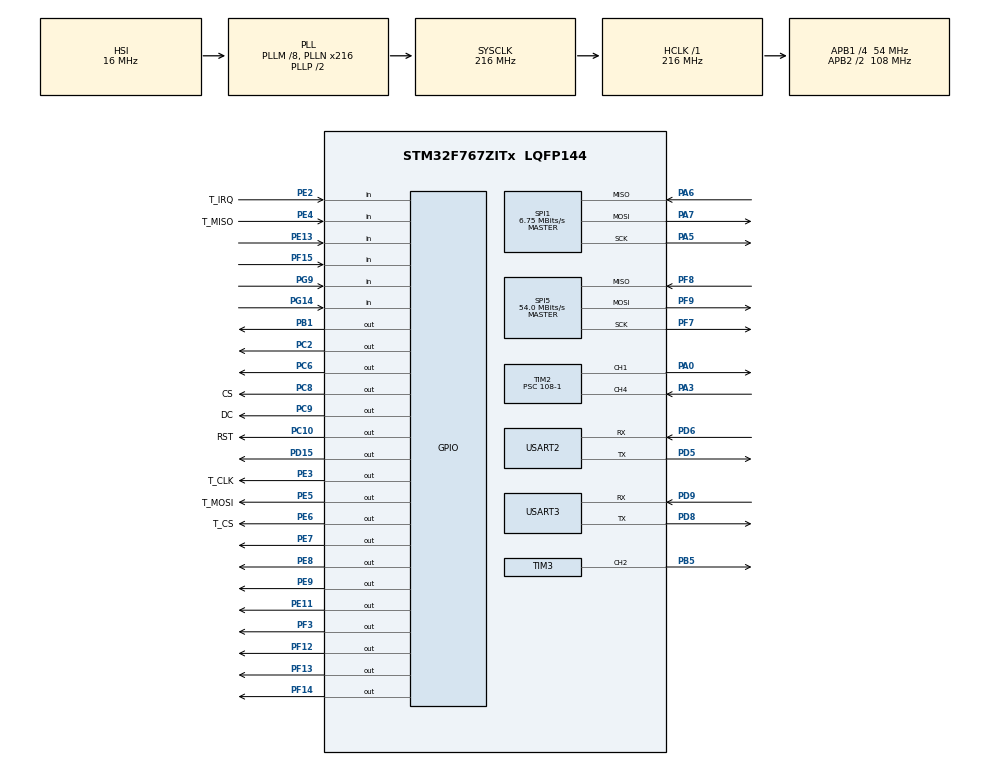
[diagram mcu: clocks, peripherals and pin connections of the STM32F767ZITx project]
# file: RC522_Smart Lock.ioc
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CORTEX_M7.default_mode_Activation=1
Mcu.Family=STM32F7
Mcu.Name=STM32F767ZITx
Mcu.Package=LQFP144
NVIC.PriorityGroup=NVIC_PRIORITYGROUP_4
NVIC.TIM1_UP_TIM10_IRQn=true\:2\:0\:true\:false\:true\:true\:true\:true
NVIC.TIM2_IRQn=true\:3\:0\:true\:false\:true\:true\:true\:true
NVIC.TIM3_IRQn=true\:4\:0\:true\:false\:true\:true\:true\:true
NVIC.TIM4_IRQn=true\:2\:0\:true\:false\:true\:true\:true\:true
NVIC.USART3_IRQn=true\:1\:0\:true\:false\:true\:true\:true\:true
PA0/WKUP.Signal=S_TIM2_CH1_ETR
PA13.Mode=Serial_Wire
PA13.Signal=SYS_JTMS-SWDIO
PA14.Mode=Serial_Wire
PA14.Signal=SYS_JTCK-SWCLK
PA3.GPIO_Speed=GPIO_SPEED_FREQ_HIGH
PA3.Signal=S_TIM2_CH4
PA5.Mode=Full_Duplex_Master
PA5.Signal=SPI1_SCK
PA6.Mode=Full_Duplex_Master
PA6.Signal=SPI1_MISO
PA7.Mode=Full_Duplex_Master
PA7.Signal=SPI1_MOSI
PB1.Signal=GPIO_Output
PB5.Signal=S_TIM3_CH2
PC10.GPIO_Label=RST
PC10.Signal=GPIO_Output
PC2.Signal=GPIO_Output
PC6.Signal=GPIO_Output
PC8.GPIO_Label=CS
PC8.Signal=GPIO_Output
PC9.GPIO_Label=DC
PC9.Signal=GPIO_Output
PD15.Signal=GPIO_Output
PD5.Mode=Asynchronous
PD5.Signal=USART2_TX
PD6.Mode=Asynchronous
PD6.Signal=USART2_RX
PD8.Mode=Asynchronous
PD8.Signal=USART3_TX
PD9.Mode=Asynchronous
PD9.Signal=USART3_RX
PE11.Signal=GPIO_Output
PE13.GPIO_PuPd=GPIO_PULLUP
PE13.Signal=GPIO_Input
PE2.GPIO_Label=T_IRQ
PE2.Signal=GPIO_Input
PE3.GPIO_Label=T_CLK
PE3.Signal=GPIO_Output
PE4.GPIO_Label=T_MISO
PE4.Signal=GPIO_Input
PE5.GPIO_Label=T_MOSI
PE5.Signal=GPIO_Output
PE6.GPIO_Label=T_CS
PE6.Signal=GPIO_Output
PE7.Signal=GPIO_Output
PE8.Signal=GPIO_Output
PE9.Signal=GPIO_Output
PF12.Signal=GPIO_Output
PF13.Signal=GPIO_Output
PF14.Signal=GPIO_Output
PF15.GPIO_PuPd=GPIO_PULLUP
PF15.Signal=GPIO_Input
PF3.Signal=GPIO_Output
PF7.Mode=Full_Duplex_Master
PF7.Signal=SPI5_SCK
PF8.Mode=Full_Duplex_Master
PF8.Signal=SPI5_MISO
PF9.Mode=Full_Duplex_Master
PF9.Signal=SPI5_MOSI
PG14.GPIO_PuPd=GPIO_PULLUP
PG14.Signal=GPIO_Input
PG9.GPIO_PuPd=GPIO_PULLUP
PG9.Signal=GPIO_Input
PH0/OSC_IN.Mode=HSE-External-Oscillator
PH0/OSC_IN.Signal=RCC_OSC_IN
PH1/OSC_OUT.Mode=HSE-External-Oscillator
PH1/OSC_OUT.Signal=RCC_OSC_OUT
ProjectManager.HeapSize=0x200
ProjectManager.StackSize=0x400
ProjectManager.TargetToolchain=STM32CubeIDE
RCC.AHBFreq_Value=216000000
RCC.APB1CLKDivider=RCC_HCLK_DIV4
RCC.APB1Freq_Value=54000000
RCC.APB1TimFreq_Value=108000000
RCC.APB2CLKDivider=RCC_HCLK_DIV2
RCC.APB2Freq_Value=108000000
RCC.APB2TimFreq_Value=216000000
RCC.CortexFreq_Value=216000000
RCC.HCLKFreq_Value=216000000
RCC.HSE_VALUE=25000000
RCC.HSI_VALUE=16000000
RCC.LSE_VALUE=32768
RCC.PLLM=8
RCC.PLLN=216
RCC.SYSCLKFreq_VALUE=216000000
RCC.SYSCLKSource=RCC_SYSCLKSOURCE_PLLCLK
RCC.USBFreq_Value=216000000
RCC.VCOOutputFreq_Value=432000000
SH.S_TIM2_CH1_ETR.0=TIM2_CH1,PWM Generation1 CH1
SH.S_TIM2_CH4.0=TIM2_CH4,Input_Capture4_from_TI4
SH.S_TIM3_CH2.0=TIM3_CH2,PWM Generation2 CH2
SPI1.BaudRatePrescaler=SPI_BAUDRATEPRESCALER_16
SPI1.CalculateBaudRate=6.75 MBits/s
SPI1.DataSize=SPI_DATASIZE_8BIT
SPI1.Direction=SPI_DIRECTION_2LINES
SPI1.Mode=SPI_MODE_MASTER
SPI1.VirtualType=VM_MASTER
SPI5.BaudRatePrescaler=SPI_BAUDRATEPRESCALER_2
SPI5.CalculateBaudRate=54.0 MBits/s
SPI5.DataSize=SPI_DATASIZE_8BIT
SPI5.Direction=SPI_DIRECTION_2LINES
SPI5.Mode=SPI_MODE_MASTER
SPI5.NSSPMode=SPI_NSS_PULSE_DISABLE
SPI5.VirtualType=VM_MASTER
TIM1.Period=10000-1
TIM1.Prescaler=216-1
TIM2.Channel-Input_Capture4_from_TI4=TIM_CHANNEL_4
TIM2.Channel-PWM\ Generation1\ CH1=TIM_CHANNEL_1
TIM2.Period=100000-1
TIM2.Prescaler=108-1
TIM2.Pulse-PWM\ Generation1\ CH1=100000/10000-1
TIM3.Channel-PWM\ Generation2\ CH2=TIM_CHANNEL_2
TIM3.Period=20000-1
TIM3.Prescaler=108-1
TIM3.Pulse-PWM\ Generation2\ CH2=20000/10-1
TIM4.Period=10000 - 1
TIM4.Prescaler=10800 - 1
USART2.VirtualMode-Asynchronous=VM_ASYNC
USART3.VirtualMode-Asynchronous=VM_ASYNC
VP_TIM1_VS_ClockSourceINT.Mode=Internal
VP_TIM2_VS_ClockSourceINT.Mode=Internal
VP_TIM3_VS_ClockSourceINT.Mode=Internal
VP_TIM4_VS_ClockSourceINT.Mode=Internal
board=custom

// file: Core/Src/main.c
/* USER CODE BEGIN Header */
/**
  ******************************************************************************
  * @file           : main.c
  * @brief          : Main program body
  ******************************************************************************
  * @attention
  *
  * Copyright (c) 2025 STMicroelectronics.
  * All rights reserved.
  *
  * This software is licensed under terms that can be found in the LICENSE file
  * in the root directory of this software component.
  * If no LICENSE file comes with this software, it is provided AS-IS.
  *
  ******************************************************************************
  */
/* USER CODE END Header */
#include "main.h"
#include "spi.h"
#include "tim.h"
#include "usart.h"
#include "gpio.h"

/* USER CODE BEGIN Includes */
#include <stdio.h>
#include "string.h"
#include "stdbool.h"
#include "RC522.h"
#include "ILI9341_Touchscreen.h"
#include "ILI9341_STM32_Driver.h"
#include "ILI9341_GFX.h"

/* USER CODE END Includes */

/* USER CODE BEGIN PD */
#define ROWS 4
#define COLS 4
#define MAX_PASSWORD_LEN 10
#define SIGNAL_PASS_PORT GPIOE
#define SIGNAL_PASS_PIN GPIO_PIN_7
#define SIGNAL_FAIL_PORT GPIOE
#define SIGNAL_FAIL_PIN GPIO_PIN_8

#define UID_LEN 5

#define MAX_SIZE 100
#define STR_LENGTH 50
/* USER CODE END PD */

/* USER CODE BEGIN PV */
uint16_t rowPins[ROWS] = {GPIO_PIN_13, GPIO_PIN_9, GPIO_PIN_11, GPIO_PIN_14};
GPIO_TypeDef* rowPorts[ROWS] = {GPIOF, GPIOE, GPIOE, GPIOF};

uint16_t colPins[COLS] = {GPIO_PIN_13, GPIO_PIN_15, GPIO_PIN_14, GPIO_PIN_9};
GPIO_TypeDef* colPorts[COLS] = {GPIOE, GPIOF, GPIOG, GPIOG};

char keys[ROWS][COLS] = {
  {'1','2','3','A'},
  {'4','5','6','B'},
  {'7','8','9','C'},
  {'*','0','#','D'}
};

char correctPassword[MAX_PASSWORD_LEN + 1] = "123456";

typedef enum {
	NORMAL,
	VALIDATE_OLD_PASSWORD,
	CHANGE_NEW_PASSWORD
} Mode_t;
Mode_t keypad_mode = NORMAL;

const uint8_t allowed_uids[][UID_LEN] = {
    {117, 218, 111, 6, 198},
    {241, 154, 56, 6, 84}
};
const size_t allowed_count = sizeof(allowed_uids) / UID_LEN;

uint8_t uid[UID_LEN];
uint8_t tagType[2];
uint8_t status;

typedef enum {
  SELECT_MODE,
  KEYPAD_MODE,
  RFID_MODE
} SystemMode_t;
SystemMode_t system_mode = SELECT_MODE;

//typedef enum {
//	FAIL, // IS_PASS=0, IS_CLOSE=1
//	OPEN, // IS_PASS=0, IS_CLOSE =0
//	SUCCESS // IS_PASS=1, IS_CLOSE=1
//} LogState_t;
//LogState_t current_state = IDLE;

uint8_t fail_count = 0;
bool is_locked = false;
uint32_t lock_start_time = 0;

//Servo variables
uint32_t current;
uint32_t prev = 0;

//ultrasonic variables
uint32_t IC_Val1 = 0;
uint32_t IC_Val2 = 0;
uint32_t Difference = 0;
uint8_t Is_First_Captured = 0;
float Distance = 0;

//State variables
uint8_t isClose = 1;
uint8_t isPass = 0;
uint8_t prev_state = NULL;
//Timer variables
uint32_t count = 0;
//debug variables

//wifi variables
//char SSID[] = "NaCl - GUEST";
//char PASSWORD[] = "N@CL601_Guest";
//char URL[] = "http://10.60.0.59:3000";
//
//uint32_t wifi_connect_interval = 0;

uint8_t screen = 0;
uint8_t p_screen = 0;
/* USER CODE END PV */

void SystemClock_Config(void);
static void MPU_Config(void);
/* USER CODE BEGIN PFP */
//void ESP_ConnectWifi(){
//	char cmd[100];
//	snprintf(cmd, sizeof(cmd), "AT+CWJAP=\"%s\",\"%s\"\r\n", SSID, PASSWORD);
//	HAL_UART_Transmit(&huart2, (uint8_t*)cmd, strlen(cmd), 100);
//}

//void ESP_HttpGet(char* path){
//	char cmd[100];
//	snprintf(cmd, sizeof(cmd), "AT+HTTPGET=\"%s/%s\"\r\n", URL, path);
//	HAL_UART_Transmit(&huart2, (uint8_t*)cmd, strlen(cmd), 100);
//}

char getKey(void) {
	for (int r = 0; r < ROWS; r++) {
		HAL_GPIO_WritePin(rowPorts[r], rowPins[r], GPIO_PIN_RESET);
		HAL_Delay(1);

		for (int c = 0; c < COLS; c++) {
			if (HAL_GPIO_ReadPin(colPorts[c], colPins[c]) == GPIO_PIN_RESET) {
				HAL_Delay(30);

				if (HAL_GPIO_ReadPin(colPorts[c], colPins[c]) == GPIO_PIN_RESET) {
					while (HAL_GPIO_ReadPin(colPorts[c], colPins[c]) == GPIO_PIN_RESET) {
						HAL_Delay(10);
					}
					HAL_GPIO_WritePin(rowPorts[r], rowPins[r], GPIO_PIN_SET);

					return keys[r][c];
				}
			}
		}
		HAL_GPIO_WritePin(rowPorts[r], rowPins[r], GPIO_PIN_SET);
	}
	return 0;
}

static bool is_uid_allowed(uint8_t *uid) {
    for (size_t i = 0; i < allowed_count; ++i) {
        if (memcmp(uid, allowed_uids[i], UID_LEN) == 0) return true;
    }
    return false;
}

void led_show_result(uint8_t isPasswordCorrect) {
	if (isPasswordCorrect) {
		HAL_GPIO_WritePin(SIGNAL_PASS_PORT, SIGNAL_PASS_PIN, 1);
		HAL_Delay(3000);
		HAL_GPIO_WritePin(SIGNAL_PASS_PORT, SIGNAL_PASS_PIN, 0);
	}
	else {
		HAL_GPIO_WritePin(SIGNAL_FAIL_PORT, SIGNAL_FAIL_PIN, 1);
		HAL_Delay(3000);
		HAL_GPIO_WritePin(SIGNAL_FAIL_PORT, SIGNAL_FAIL_PIN, 0);
	}
}

void uart_print(const char *s) {
	HAL_UART_Transmit(&huart3, (uint8_t*)s, strlen(s), HAL_MAX_DELAY);
}

/* USER CODE END PFP */

/* USER CODE BEGIN 0 */
//Servo functions
void Servo_Open(uint32_t delay) {
    // Angle should be between 0 and 180
    // Pulse width min-max: 1ms (500) to 2ms (2600) for 0° to 180°
	// Pulse width for this project: 600-2000
	// Best Delay for parameter is 190
    __HAL_TIM_SET_COMPARE(&htim3, TIM_CHANNEL_2, 2000);
    HAL_Delay(delay);
}

void Servo_Close(uint32_t delay) {
    // Angle should be between 0 and 180
    // Pulse width min-max: 1ms (500) to 2ms (2600) for 0° to 180°
	// Pulse width for this project: 600-2000
    __HAL_TIM_SET_COMPARE(&htim3, TIM_CHANNEL_2, 600);
    HAL_Delay(delay);
}

//Ultrasonic Callback function
void HAL_TIM_IC_CaptureCallback(TIM_HandleTypeDef *htim) {
    if (htim->Channel == HAL_TIM_ACTIVE_CHANNEL_4) {
        if (Is_First_Captured == 0) {
            IC_Val1 = HAL_TIM_ReadCapturedValue(htim, TIM_CHANNEL_4);
            __HAL_TIM_SET_CAPTUREPOLARITY(htim, TIM_CHANNEL_4, TIM_INPUTCHANNELPOLARITY_FALLING);
            Is_First_Captured = 1;
        } else {
            IC_Val2 = HAL_TIM_ReadCapturedValue(htim, TIM_CHANNEL_4);
            __HAL_TIM_SET_CAPTUREPOLARITY(htim, TIM_CHANNEL_4, TIM_INPUTCHANNELPOLARITY_RISING);
            Is_First_Captured = 0;

            if (IC_Val2 > IC_Val1)
                Difference = IC_Val2 - IC_Val1;
            else
                Difference = (0xFFFF - IC_Val1 + IC_Val2);

            Distance = Difference / 58.0;
        }

        //if distance is too close from ultrasonic then led on board turn on
        if(Distance >= 2.0 && Distance <= 3.5 ){
        	//Door closed
        	HAL_GPIO_WritePin(GPIOF, GPIO_PIN_3, GPIO_PIN_RESET);
        	isClose = 1;
        }
        else if(Distance > 3.5){
            //Door still open
        	HAL_GPIO_WritePin(GPIOF, GPIO_PIN_3, GPIO_PIN_SET);
        	isClose = 0;
        }

    }
}

void pwdEnter(char* entered){
	uint8_t censor = strlen(entered);
	char buffer[20];
	strcpy(buffer, entered);
	for (int i = 0; buffer[i] != '\0'; i++){
		buffer[i] = '*';
	}
	ILI9341_Draw_Text("000000000000", 161-(12*6), 130, WHITE, 2 , WHITE);
	ILI9341_Draw_Text(buffer, 161-(censor*6), 130, BLACK, 2, WHITE);
}

void LCD_MULT(char* buf){
	if (p_screen != screen){
		if (screen == 0){
				ILI9341_Fill_Screen(BLACK);
			}
			if (screen == 1){	//Enter password
				ILI9341_Fill_Screen(WHITE);
				ILI9341_Draw_Text("Enter Password...", 49, 100, BLACK, 2, WHITE);
			}
			if (screen == 2){
				ILI9341_Fill_Screen(WHITE);
				ILI9341_Draw_Text("[New] Password...", 69, 100, BLACK, 2, WHITE);
			}
			if (screen == 3){
				ILI9341_Fill_Screen(WHITE);
				ILI9341_Draw_Text("UNLOCKED", 113, 115, GREEN, 2, WHITE);
			}
			if (screen == 4){
				ILI9341_Draw_Text("INVALID ACCESS", 77, 170, RED, 2, WHITE);
			}
			if (screen == 5){
				ILI9341_Fill_Screen(WHITE);
				ILI9341_Draw_Text("TEMPORARY LOCKED", 71, 115, RED, 2, WHITE);
			}
			if (screen == 6){
				ILI9341_Fill_Screen(WHITE);
				ILI9341_Draw_Text("TAP YOUR RFID", 83, 115, BLACK, 2, WHITE);
			}
			if (screen == 7){
				ILI9341_Draw_Text("YOUR OLD PASSWORD", 59, 150, BLACK, 2, WHITE);
			}
			p_screen = screen;
	}
}

/* USER CODE END 0 */

int main(void)
{

  /* MPU Configuration--------------------------------------------------------*/
  MPU_Config();

  /* MCU Configuration--------------------------------------------------------*/

  /* Reset of all peripherals, Initializes the Flash interface and the Systick. */
  HAL_Init();

  /* Configure the system clock */
  SystemClock_Config();

  /* Initialize all configured peripherals */
  MX_GPIO_Init();
  MX_SPI1_Init();
  MX_USART3_UART_Init();
  MX_TIM2_Init();
  MX_TIM3_Init();
  MX_TIM1_Init();
  MX_TIM4_Init();
  MX_USART2_UART_Init();
  MX_SPI5_Init();
  /* USER CODE BEGIN 2 */
  MFRC522_Init();

//  for (int i = 0; i < ROWS; i++) {
//	  ESP_ConnectWifi();
//	  HAL_Delay(500);
//  }

  HAL_TIM_Base_Start_IT(&htim4);

  for (int i = 0; i < ROWS; i++) {
	  HAL_GPIO_WritePin(rowPorts[i], rowPins[i], 1);
  }

  char entered[MAX_PASSWORD_LEN + 1];
  char buffer[64];
  uint8_t idx = 0;
  memset(entered, 0, sizeof(entered));

  uart_print("System Ready.\r\nPress A = Keypad | Press B = RFID\r\n");

  //Servo Ultrasonic PWM/Timer Start
  HAL_TIM_PWM_Start(&htim3, TIM_CHANNEL_2);
  HAL_TIM_IC_Start_IT(&htim2, TIM_CHANNEL_4);
  HAL_TIM_PWM_Start(&htim2, TIM_CHANNEL_1);

  ILI9341_Init();
  ILI9341_Set_Rotation(SCREEN_HORIZONTAL_1);
  ILI9341_Fill_Screen(BLACK);

  /* USER CODE END 2 */

  /* Infinite loop */
  while (1)
  {

    /* USER CODE BEGIN 3 */
	  if(isClose == 0){
		  if(prev_state != isClose){
			  ESP_HttpGet("info/door_is_opened\r\n");
		  }
		  if(isPass == 1){
			  //If Timer still counts then stop
			  HAL_TIM_Base_Stop_IT(&htim1);
			  count = 0;
			  //Reset Access when door is opened
			  isPass = 0;
		  }
		  else{
			  //If Door is opened for some sec then buzzer alert
			  if(count == 0){
				  HAL_TIM_Base_Start_IT(&htim1);
			  }
			  //count 100 = 1s
			  else if(count >= 1500 && count < 2000){
				  HAL_GPIO_WritePin(GPIOC, GPIO_PIN_6, GPIO_PIN_SET);
			  }
			  else if(count >= 2000){
				  uart_print("Door still open. Buzzer closed\r\n");
				  ESP_HttpGet("alert/door_still_open\r\n");
				  HAL_TIM_Base_Stop_IT(&htim1);
				  HAL_GPIO_WritePin(GPIOC, GPIO_PIN_6, GPIO_PIN_RESET);
				  count = 200;
			  }
		  }
	  }
	  else {
		  if(prev_state != isClose){
			  ESP_HttpGet("info/door_is_closed\r\n");
		  }
		  if(isPass == 0){
			  if(wifi_connect_interval == 0){
				  ESP_ConnectWifi();
			  }
			  wifi_connect_interval++;
			  wifi_connect_interval %= 10;
			  Servo_Close(190);
			  HAL_GPIO_WritePin(GPIOC, GPIO_PIN_6, GPIO_PIN_RESET);
			  HAL_TIM_Base_Stop_IT(&htim1);
			  count = 0;
			  screen = 0;
			  if(prev_state != isClose) {
				  system_mode = SELECT_MODE;
				  screen = 0;
				  uart_print("Press A = Keypad | Press B = RFID\r\n");
			  }
		  }
		  else{
			  Servo_Open(190);
			  //Start Timer to see if user not open door then close again
			  if(count == 0){
				 HAL_TIM_Base_Start_IT(&htim1);
			  }
			  //count 100 = 1s
			  else if(count >= 800){
				  ESP_HttpGet("info/unlock_but_door_is_closing\r\n");
				  uart_print("User didn't open the door, revoke access.\r\n");
				  HAL_TIM_Base_Stop_IT(&htim1);
				  Servo_Close(190);
				  isPass = 0;
				  count = 200;
				  screen = 0;
				  system_mode = SELECT_MODE;
			  }
		  }
	  }
	  prev_state = isClose;

	  char key;

	  if(!is_locked){
		  key = getKey();
	  }

	  if (system_mode == SELECT_MODE) {
		  if (key == 'A') {
			  system_mode = KEYPAD_MODE;
			  uart_print("Keypad Mode Selected.\r\n");
			  screen = 1;
		  }
		  else if (key == 'B') {
			  system_mode = RFID_MODE;
			  uart_print("RFID Mode Selected.\r\n");
			  screen = 6;
		  }
		  continue;
	  }

	  if(key == 'D') {
		  system_mode = SELECT_MODE;
		  uart_print("Press A = Keypad | Press B = RFID\r\n");
		  screen = 0;
	  }

	  if (system_mode == KEYPAD_MODE && !is_locked && key) {
				  if (key >= '0' && key <= '9') {
					  if (idx < MAX_PASSWORD_LEN) {
						  entered[idx++] = key;
						  entered[idx] = '\0';
						  sprintf(buffer, "%c", key);
						  uart_print(buffer);
						  pwdEnter(entered);
					  }
					  else {
						  uart_print("Password can be up to 10 characters.\r\n");
						  memset(entered, 0, sizeof(entered));
						  idx = 0;
					  }
				  }
				  else if (key == '#') {
					  entered[idx] = '\0';

					  if (keypad_mode == NORMAL) {
						  if (strcmp(entered, correctPassword) == 0) {
							  ESP_HttpGet("info/password_correct\r\n");
							  uart_print("Password Correct\r\n");
							  isPass = 1;
							  led_show_result(1);
							  screen = 3;
							  pwdEnter("");
						  }
						  else {
							  ESP_HttpGet("warning/password_fail\r\n");
							  uart_print("Password Fail\r\n");
							  isPass = 0;
							  led_show_result(0);
							  screen = 4;
							  pwdEnter("");
							  fail_count++;
							  if (fail_count >= 3) {
								  screen = 5;
								  is_locked = true;
								  lock_start_time = HAL_GetTick();
								  ESP_HttpGet("alert/door_lock\r\n");
								  uart_print("Too many failed attempts! System locked for 10 seconds.\r\n");
							  }
						  }
					  }
					  else if (keypad_mode == VALIDATE_OLD_PASSWORD) {
						  if (strcmp(entered, correctPassword) == 0) {
							uart_print("Old password correct. \r\nEnter new password");
							keypad_mode = CHANGE_NEW_PASSWORD;
							screen = 2;
							pwdEnter("");
						  }
						  else {
							ESP_HttpGet("warning/invalid_password_change\r\n");
							uart_print("\r\nWrong old password.\r\n");
							keypad_mode = NORMAL;
							screen = 4;
							pwdEnter("");
						  }
					  }
					  else if (keypad_mode == CHANGE_NEW_PASSWORD) {
						  strcpy(correctPassword, entered);
						  ESP_HttpGet("info/password_changed\r\n");
						  uart_print("Password changed !!!\r\n");
						  keypad_mode = NORMAL;
						  screen = 1;
						  pwdEnter("");
					  }

					  idx = 0;
					  memset(entered, 0, sizeof(entered));
				  }
				  else if (key == '*') {
					  if (idx > 0) {
						  idx--;
						  entered[idx] = '\0';
						  uart_print("\b \b");
						  pwdEnter(entered);
					  }
				  }
				  else if (key == 'C') {
					  uart_print("Enter old password to change");

					  keypad_mode = VALIDATE_OLD_PASSWORD;
					  screen = 7;
					  idx = 0;
					  memset(entered, 0, sizeof(entered));
				  }
				  else {
					  sprintf(buffer, "Ignored: %c\r\n", key);
					  uart_print(buffer);
				  }
	  }

	  else if(system_mode == RFID_MODE && !is_locked){
			  status = MFRC522_Request(PICC_REQIDL, tagType);

			  if (status != MI_OK) {
				  HAL_Delay(100);
				  continue;
			  }

			  status = MFRC522_Anticoll(uid);
			  if (status != MI_OK) {
				  HAL_Delay(100);
				  continue;
			  }

			  char buffer[64];
			  sprintf(buffer, "UID: %d %d %d %d %d\r\n", uid[0], uid[1], uid[2], uid[3], uid[4]);
			  uart_print(buffer);

			  if (is_uid_allowed(uid)) {
				  ESP_HttpGet("info/rfid_pass\r\n");
				  uart_print("Pass\r\n");
				  isPass = 1;
				  led_show_result(1);
				  screen = 3;
			  }
			  else {
				  ESP_HttpGet("warning/rfid_fail\r\n");
				  uart_print("Fail\r\n");
				  isPass = 0;
				  led_show_result(0);
				  screen = 4;
				  fail_count++;
				  if (fail_count >= 3) {
					  is_locked = true;
					  lock_start_time = HAL_GetTick();
					  ESP_HttpGet("alert/door_lock\r\n");
					  uart_print("Too many failed attempts! System locked for 10 seconds.\r\n");
					  screen = 5;
				  }
			  }
	  }
	  LCD_MULT(entered);
  }

  /* USER CODE END 3 */
}

void SystemClock_Config(void)
{
  RCC_OscInitTypeDef RCC_OscInitStruct = {0};
  RCC_ClkInitTypeDef RCC_ClkInitStruct = {0};

  /** Configure the main internal regulator output voltage
  */
  __HAL_RCC_PWR_CLK_ENABLE();
  __HAL_PWR_VOLTAGESCALING_CONFIG(PWR_REGULATOR_VOLTAGE_SCALE1);

  /** Initializes the RCC Oscillators according to the specified parameters
  * in the RCC_OscInitTypeDef structure.
  */
  RCC_OscInitStruct.OscillatorType = RCC_OSCILLATORTYPE_HSI;
  RCC_OscInitStruct.HSIState = RCC_HSI_ON;
  RCC_OscInitStruct.HSICalibrationValue = RCC_HSICALIBRATION_DEFAULT;
  RCC_OscInitStruct.PLL.PLLState = RCC_PLL_ON;
  RCC_OscInitStruct.PLL.PLLSource = RCC_PLLSOURCE_HSI;
  RCC_OscInitStruct.PLL.PLLM = 8;
  RCC_OscInitStruct.PLL.PLLN = 216;
  RCC_OscInitStruct.PLL.PLLP = RCC_PLLP_DIV2;
  RCC_OscInitStruct.PLL.PLLQ = 2;
  RCC_OscInitStruct.PLL.PLLR = 2;
  if (HAL_RCC_OscConfig(&RCC_OscInitStruct) != HAL_OK)
  {
    Error_Handler();
  }

  /** Activate the Over-Drive mode
  */
  if (HAL_PWREx_EnableOverDrive() != HAL_OK)
  {
    Error_Handler();
  }

  /** Initializes the CPU, AHB and APB buses clocks
  */
  RCC_ClkInitStruct.ClockType = RCC_CLOCKTYPE_HCLK|RCC_CLOCKTYPE_SYSCLK
                              |RCC_CLOCKTYPE_PCLK1|RCC_CLOCKTYPE_PCLK2;
  RCC_ClkInitStruct.SYSCLKSource = RCC_SYSCLKSOURCE_PLLCLK;
  RCC_ClkInitStruct.AHBCLKDivider = RCC_SYSCLK_DIV1;
  RCC_ClkInitStruct.APB1CLKDivider = RCC_HCLK_DIV4;
  RCC_ClkInitStruct.APB2CLKDivider = RCC_HCLK_DIV2;

  if (HAL_RCC_ClockConfig(&RCC_ClkInitStruct, FLASH_LATENCY_7) != HAL_OK)
  {
    Error_Handler();
  }
}

/* USER CODE BEGIN 4 */
void HAL_TIM_PeriodElapsedCallback(TIM_HandleTypeDef *htim)
{
    if (htim->Instance == TIM4) {

        if (is_locked) {
            // กระพริบ LED หรือเช็กเวลา
            if (HAL_GetTick() - lock_start_time >= 10000) {
                is_locked = false;
                fail_count = 0;
                uart_print("System unlocked. You may try again.\r\n");
                system_mode = SELECT_MODE;
                screen = 0;
            }
        }
    }
}

/* USER CODE END 4 */

 /* MPU Configuration */

void MPU_Config(void)
{
  MPU_Region_InitTypeDef MPU_InitStruct = {0};

  /* Disables the MPU */
  HAL_MPU_Disable();

  /** Initializes and configures the Region and the memory to be protected
  */
  MPU_InitStruct.Enable = MPU_REGION_ENABLE;
  MPU_InitStruct.Number = MPU_REGION_NUMBER0;
  MPU_InitStruct.BaseAddress = 0x0;
  MPU_InitStruct.Size = MPU_REGION_SIZE_4GB;
  MPU_InitStruct.SubRegionDisable = 0x87;
  MPU_InitStruct.TypeExtField = MPU_TEX_LEVEL0;
  MPU_InitStruct.AccessPermission = MPU_REGION_NO_ACCESS;
  MPU_InitStruct.DisableExec = MPU_INSTRUCTION_ACCESS_DISABLE;
  MPU_InitStruct.IsShareable = MPU_ACCESS_SHAREABLE;
  MPU_InitStruct.IsCacheable = MPU_ACCESS_NOT_CACHEABLE;
  MPU_InitStruct.IsBufferable = MPU_ACCESS_NOT_BUFFERABLE;

  HAL_MPU_ConfigRegion(&MPU_InitStruct);
  /* Enables the MPU */
  HAL_MPU_Enable(MPU_PRIVILEGED_DEFAULT);

}

void Error_Handler(void)
{
  __disable_irq();
  while (1)
  {
  }
}
